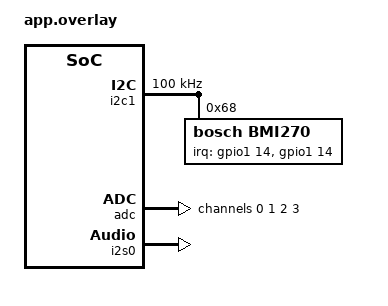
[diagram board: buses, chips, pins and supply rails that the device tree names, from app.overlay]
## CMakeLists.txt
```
cmake_minimum_required(VERSION 3.20.0)

find_package(Zephyr REQUIRED HINTS $ENV{ZEPHYR_BASE})

project(tiresias-sensor-hub)

target_sources(app PRIVATE src/main.c)

zephyr_library_include_directories(
    include
    src/bluetooth
    src/modules
    src/drivers
    src/utils
    src/utils/macros
    ${ZEPHYR_BASE}/../modules/hal/cirrus-logic
    ${ZEPHYR_BASE}/../modules/hal/cirrus-logic/cs47l63
    ${ZEPHYR_BASE}/../modules/hal/cirrus-logic/cs47l63/config
    ${ZEPHYR_BASE}/../modules/hal/cirrus-logic/cs47l63/generated
    ${ZEPHYR_BASE}/../modules/hal/cirrus-logic/cs47l63/bsp
    ${ZEPHYR_BASE}/../modules/hal/cirrus-logic/common
)

add_subdirectory(src/bluetooth)
add_subdirectory(src/modules)
add_subdirectory(src/drivers)
add_subdirectory(src/utils)
```

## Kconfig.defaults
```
#
# Copyright (c) 2026 Tiresias Firmware Team
#
# SPDX-License-Identifier: LicenseRef-Nordic-5-Clause
#

config REBOOT
	default y

config MAIN_THREAD_PRIORITY
	default 10

config MAIN_STACK_SIZE
	default 8192

config SYSTEM_WORKQUEUE_STACK_SIZE
	default 2048

config THREAD_NAME
	default y

config RESET_ON_FATAL_ERROR
	default n

config BT
	default y

config SENSOR
	default y

config NRFX_I2S
	default y

config NRFX_CLOCK
	default y

config I2C
	default y

choice LIBC_IMPLEMENTATION
	default NEWLIB_LIBC
endchoice

config FPU
	default y

config FPU_SHARING
	default y

config SPI
	default y

config ADC
	default y
```

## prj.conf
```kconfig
#
# Copyright (c) 2026 Tiresias Firmware Team (nRF5340 Audio DK)
#

# --- Kernel and OS ---
CONFIG_MULTITHREADING=y
CONFIG_MAIN_STACK_SIZE=8192
CONFIG_SYSTEM_WORKQUEUE_STACK_SIZE=2048
CONFIG_HEAP_MEM_POOL_SIZE=8192
CONFIG_EVENTS=y
CONFIG_RING_BUFFER=y

# --- Debug and Logs ---
CONFIG_DEBUG=y
CONFIG_ASSERT=y
CONFIG_LOG=y
CONFIG_LOG_DEFAULT_LEVEL=3
CONFIG_LOG_BACKEND_UART=n
CONFIG_LOG_BACKEND_RTT=y
CONFIG_USE_SEGGER_RTT=y
CONFIG_RTT_CONSOLE=y
CONFIG_CONSOLE=y
CONFIG_UART_CONSOLE=n
CONFIG_SEGGER_RTT_BUFFER_SIZE_UP=8192

# --- Floating Point and FPU (Trigonometric Pitch/Roll) ---
CONFIG_FPU=y
CONFIG_FPU_SHARING=y
CONFIG_CBPRINTF_FP_SUPPORT=y
CONFIG_NEWLIB_LIBC=y
CONFIG_NEWLIB_LIBC_FLOAT_PRINTF=y

# --- Hardware, Sensors and Codec ---
CONFIG_GPIO=y
CONFIG_I2C=y
CONFIG_SPI=y
CONFIG_NRFX_I2S=y
CONFIG_CLOCK_CONTROL=y
CONFIG_ADC=y
CONFIG_ADC_ASYNC=y
CONFIG_SENSOR=y
CONFIG_BMI270=y

# --- Bluetooth Low Energy ---
CONFIG_BT=y
CONFIG_BT_PERIPHERAL=y
CONFIG_BT_DEVICE_NAME="Tiresias_DK"
CONFIG_BT_DEVICE_APPEARANCE=833
CONFIG_BT_GATT_DYNAMIC_DB=y
CONFIG_BT_SMP=y

# Throughput, MTU and Data Length Extension (DLE)
CONFIG_BT_L2CAP_TX_MTU=247
CONFIG_BT_BUF_ACL_TX_SIZE=251
CONFIG_BT_BUF_ACL_RX_SIZE=251
CONFIG_BT_BUF_ACL_TX_COUNT=10
CONFIG_BT_BUF_EVT_RX_COUNT=12
CONFIG_BT_DATA_LEN_UPDATE=y
CONFIG_BT_USER_DATA_LEN_UPDATE=y

# Parametros de Conexao Rapida (Evitar descarte de pacotes com buffer reduzido)
CONFIG_BT_PERIPHERAL_PREF_MIN_INT=12
CONFIG_BT_PERIPHERAL_PREF_MAX_INT=12
CONFIG_BT_GAP_AUTO_UPDATE_CONN_PARAMS=y

# Device Information Service (DIS)
CONFIG_BT_DIS=y
CONFIG_BT_DIS_MANUF_NAME=y
CONFIG_BT_DIS_MANUF_NAME_STR="EESC-USP"
CONFIG_BT_DIS_MODEL_NUMBER=y
CONFIG_BT_DIS_MODEL_NUMBER_STR="Tiresias Hearing Aid"
CONFIG_BT_DIS_FW_REV=y
CONFIG_THREAD_NAME=y
```

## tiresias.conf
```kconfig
#
# Copyright (c) 2026 Tiresias Firmware Team (nRF5340 Audio DK)
#

# --- Kernel and OS ---
CONFIG_MULTITHREADING=y
CONFIG_MAIN_STACK_SIZE=8192
CONFIG_SYSTEM_WORKQUEUE_STACK_SIZE=2048
CONFIG_HEAP_MEM_POOL_SIZE=8192
CONFIG_EVENTS=y
CONFIG_RING_BUFFER=y

# --- Debug and Logs ---
CONFIG_DEBUG=y
CONFIG_ASSERT=y
CONFIG_LOG=y
CONFIG_LOG_DEFAULT_LEVEL=3
CONFIG_LOG_BACKEND_UART=n
CONFIG_LOG_BACKEND_RTT=y
CONFIG_USE_SEGGER_RTT=y
CONFIG_RTT_CONSOLE=y
CONFIG_CONSOLE=y
CONFIG_UART_CONSOLE=n
CONFIG_SEGGER_RTT_BUFFER_SIZE_UP=8192

# --- Floating Point and FPU (Trigonometric Pitch/Roll) ---
CONFIG_FPU=y
CONFIG_FPU_SHARING=y
CONFIG_CBPRINTF_FP_SUPPORT=y
CONFIG_NEWLIB_LIBC=y
CONFIG_NEWLIB_LIBC_FLOAT_PRINTF=y

# --- Hardware and Sensors ---
CONFIG_GPIO=y
CONFIG_I2C=y
CONFIG_ADC=y
CONFIG_ADC_ASYNC=y
CONFIG_SENSOR=y
CONFIG_BMI270=y

# --- Bluetooth Low Energy ---
CONFIG_BT=y
CONFIG_BT_PERIPHERAL=y
CONFIG_BT_DEVICE_NAME="Tiresias_DK"
CONFIG_BT_DEVICE_APPEARANCE=833
CONFIG_BT_GATT_DYNAMIC_DB=y
CONFIG_BT_SMP=y

# Throughput, MTU and Data Length Extension (DLE)
CONFIG_BT_L2CAP_TX_MTU=247
CONFIG_BT_BUF_ACL_TX_SIZE=251
CONFIG_BT_BUF_ACL_RX_SIZE=251
CONFIG_BT_BUF_ACL_TX_COUNT=10
CONFIG_BT_BUF_EVT_RX_COUNT=12
CONFIG_BT_DATA_LEN_UPDATE=y
CONFIG_BT_USER_DATA_LEN_UPDATE=y

# Device Information Service (DIS)
CONFIG_BT_DIS=y
CONFIG_BT_DIS_MANUF_NAME=y
CONFIG_BT_DIS_MANUF_NAME_STR="EESC-USP"
CONFIG_BT_DIS_MODEL_NUMBER=y
CONFIG_BT_DIS_MODEL_NUMBER_STR="Tiresias Hearing Aid"
CONFIG_BT_DIS_FW_REV=y
```

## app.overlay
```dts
/*
 * DeviceTree Overlay para o projeto Tiresias (nRF5340 Audio DK)
 * Configuracao:
 * - I2C1: IMU BMI270 (Endereco 0x68) com IRQ no pino P1.14 para Pitch/Roll a 50 Hz
 * - SAADC: 4 canais para amostragem a 2.500 Hz (2.5 kHz):
 *     - Canal 0: EMG 1 (AD8232 #1)              -> AIN1 (P0.04)
 *     - Canal 1: EMG 2 (AD8232 #2)              -> AIN2 (P0.05)
 *     - Canal 2: Mic 1 (Conector P2 Line-In)    -> AIN4 (P0.06)
 *     - Canal 3: Mic 2 (Microfone Embutido)     -> AIN5 (P0.07)
 */

#include <zephyr/dt-bindings/adc/nrf-saadc.h>

/ {
	chosen {
		zephyr,sensor-i2c = &i2c1;
	};

	aliases {
		imu-dev = &bmi270;
		adc-dev = &adc;
	};
};

/* -------------------------------------------------------------------------
 * Barramento I2C1 - Conexao do IMU Bosch BMI270 (Fast Mode 400 kHz)
 * Pinos SDA e SCL: Padrao da nRF5340 Audio DK (P1.02 e P1.03)
 * Pino de Interrupcao IRQ (INT1): P1.14
 * ------------------------------------------------------------------------- */
&i2c1 {
	status = "okay";
	clock-frequency = <I2C_BITRATE_STANDARD>;
	zephyr,concat-buf-size = <257>;

	bmi270: bmi270@68 {
		compatible = "bosch,bmi270";
		reg = <0x68>;
		/* Declaramos o P1.14 duas vezes para cobrir o INT1 e o INT2 */
		irq-gpios = <&gpio1 14 GPIO_ACTIVE_HIGH>,
					<&gpio1 14 GPIO_ACTIVE_HIGH>;
		status = "okay";
	};
};

/* -------------------------------------------------------------------------
 * SAADC - 4 Canais Analogicos (2x EMG + 2x Microfones)
 * Resolucao: 12-bit com referencia interna (0.6V) e ganho 1/6 (Escala 0-3.6V)
 * Mapeamento nRF5340 Audio DK:
 * - P0.04 = AIN1
 * - P0.05 = AIN2
 * - P0.06 = AIN4
 * - P0.07 = AIN5
 * ------------------------------------------------------------------------- */
&adc {
	status = "okay";
	#address-cells = <1>;
	#size-cells = <0>;

	/* Canal 0: EMG 1 (AD8232 #1) -> P0.04 (AIN1) */
	channel@0 {
		reg = <0>;
		zephyr,gain = "ADC_GAIN_1_6";
		zephyr,reference = "ADC_REF_INTERNAL";
		zephyr,acquisition-time = <ADC_ACQ_TIME_DEFAULT>;
		zephyr,input-positive = <NRF_SAADC_AIN1>; /* P0.04 */
		zephyr,resolution = <12>;
	};

	/* Canal 1: EMG 2 (AD8232 #2) -> P0.05 (AIN2) */
	channel@1 {
		reg = <1>;
		zephyr,gain = "ADC_GAIN_1_6";
		zephyr,reference = "ADC_REF_INTERNAL";
		zephyr,acquisition-time = <ADC_ACQ_TIME_DEFAULT>;
		zephyr,input-positive = <NRF_SAADC_AIN2>; /* P0.05 */
		zephyr,resolution = <12>;
	};

	/* Canal 2: Mic 1 (Conector P2 Line-In / Audio PC) -> P0.06 (AIN4) */
	channel@2 {
		reg = <2>;
		zephyr,gain = "ADC_GAIN_1_6";
		zephyr,reference = "ADC_REF_INTERNAL";
		zephyr,acquisition-time = <ADC_ACQ_TIME_DEFAULT>;
		zephyr,input-positive = <NRF_SAADC_AIN4>; /* P0.06 */
		zephyr,resolution = <12>;
	};

	/* Canal 3: Mic 2 (Microfone Embutido / On-board MEMS Mic) -> P0.07 (AIN5) */
	channel@3 {
		reg = <3>;
		zephyr,gain = "ADC_GAIN_1_6";
		zephyr,reference = "ADC_REF_INTERNAL";
		zephyr,acquisition-time = <ADC_ACQ_TIME_DEFAULT>;
		zephyr,input-positive = <NRF_SAADC_AIN5>; /* P0.07 */
		zephyr,resolution = <12>;
	};
};

&i2s0 {
    status = "okay";
};
```

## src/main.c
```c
/*
 * Copyright (c) 2026 Tiresias Firmware Team
 *
 * SPDX-License-Identifier: LicenseRef-Nordic-5-Clause
 */

#include "ble_telemetry.h"
#include "sensor_hub.h"

#include <zephyr/kernel.h>
#include <zephyr/logging/log.h>

LOG_MODULE_REGISTER(main, CONFIG_LOG_DEFAULT_LEVEL);

int main(void)
{
    int ret;

    LOG_INF("=================================================");
    LOG_INF(" Firmware Tiresias Sensor Hub (nRF5340) ");
    LOG_INF("=================================================");

    ret = sensor_hub_init();
    if (ret != 0) {
        LOG_ERR("Falha ao inicializar Sensor Hub: %d", ret);
    }

    ret = ble_telemetry_init();
    if (ret != 0) {
        LOG_ERR("Falha ao inicializar BLE Telemetry: %d", ret);
    }

    LOG_INF("Dispositivo anunciado como '%s'.", CONFIG_BT_DEVICE_NAME);
    LOG_INF("Envie [0x01] na caracteristica de Controle para iniciar a transmissao.");

    while (1) {
        k_msleep(5000);
    }

    return 0;
}
```
